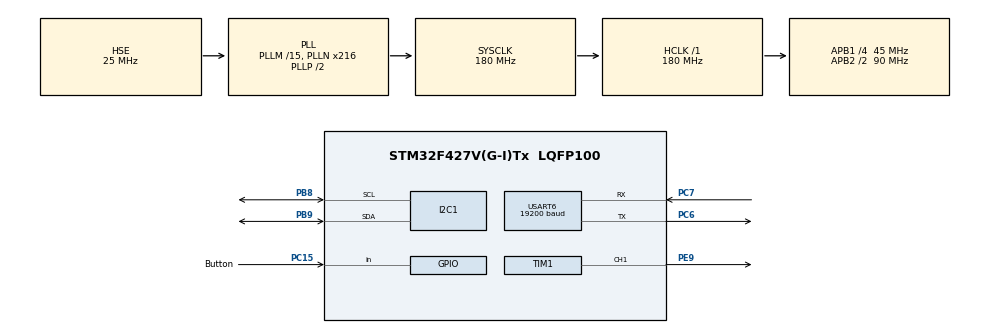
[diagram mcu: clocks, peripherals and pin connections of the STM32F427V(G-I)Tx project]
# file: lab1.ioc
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I2C1.I2C_Mode=I2C_Standard
Mcu.Family=STM32F4
Mcu.Name=STM32F427V(G-I)Tx
Mcu.Package=LQFP100
NVIC.PriorityGroup=NVIC_PRIORITYGROUP_4
NVIC.USART6_IRQn=true\:0\:0\:false\:false\:true\:true\:true\:true
PA13.Mode=JTAG_5_pins
PA13.Signal=SYS_JTMS-SWDIO
PA14.Mode=JTAG_5_pins
PA14.Signal=SYS_JTCK-SWCLK
PA15.Mode=JTAG_5_pins
PA15.Signal=SYS_JTDI
PB3.Mode=JTAG_5_pins
PB3.Signal=SYS_JTDO-SWO
PB4.Mode=JTAG_5_pins
PB4.Signal=SYS_JTRST
PB8.GPIO_Pu=GPIO_PULLUP
PB8.Mode=I2C
PB8.Signal=I2C1_SCL
PB9.GPIO_Pu=GPIO_PULLUP
PB9.Mode=I2C
PB9.Signal=I2C1_SDA
PC15/OSC32_OUT.GPIO_Label=Button
PC15/OSC32_OUT.Signal=GPIO_Input
PC6.Mode=Asynchronous
PC6.Signal=USART6_TX
PC7.Mode=Asynchronous
PC7.Signal=USART6_RX
PE9.Signal=S_TIM1_CH1
PH0/OSC_IN.Mode=HSE-External-Oscillator
PH0/OSC_IN.Signal=RCC_OSC_IN
PH1/OSC_OUT.Mode=HSE-External-Oscillator
PH1/OSC_OUT.Signal=RCC_OSC_OUT
ProjectManager.HeapSize=0x200
ProjectManager.StackSize=0x400
ProjectManager.TargetToolchain=STM32CubeIDE
RCC.48MHZClocksFreq_Value=90000000
RCC.AHBFreq_Value=180000000
RCC.APB1CLKDivider=RCC_HCLK_DIV4
RCC.APB1Freq_Value=45000000
RCC.APB1TimFreq_Value=90000000
RCC.APB2CLKDivider=RCC_HCLK_DIV2
RCC.APB2Freq_Value=90000000
RCC.APB2TimFreq_Value=180000000
RCC.CortexFreq_Value=180000000
RCC.HCLKFreq_Value=180000000
RCC.HSE_VALUE=25000000
RCC.HSI_VALUE=16000000
RCC.LSE_VALUE=32768
RCC.PLLM=15
RCC.PLLN=216
RCC.PLLSourceVirtual=RCC_PLLSOURCE_HSE
RCC.SYSCLKFreq_VALUE=180000000
RCC.SYSCLKSource=RCC_SYSCLKSOURCE_PLLCLK
RCC.VCOOutputFreq_Value=360000000
SH.S_TIM1_CH1.0=TIM1_CH1,PWM Generation1 CH1
TIM1.AutoReloadPreload=TIM_AUTORELOAD_PRELOAD_ENABLE
TIM1.Channel-PWM\ Generation1\ CH1=TIM_CHANNEL_1
TIM1.Period=999
TIM1.Prescaler=89
TIM1.Pulse-PWM\ Generation1\ CH1=500
USART6.BaudRate=19200
USART6.VirtualMode=VM_ASYNC
VP_TIM1_VS_ClockSourceINT.Mode=Internal
board=custom

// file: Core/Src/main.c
/* USER CODE BEGIN Header */
/**
 ******************************************************************************
 * @file           : main.c
 * @brief          : Main program body
 ******************************************************************************
 * @attention
 *
 * Copyright (c) 2025 STMicroelectronics.
 * All rights reserved.
 *
 * This software is licensed under terms that can be found in the LICENSE file
 * in the root directory of this software component.
 * If no LICENSE file comes with this software, it is provided AS-IS.
 *
 ******************************************************************************
 */
/* USER CODE END Header */
#include "main.h"
#include "i2c.h"
#include "tim.h"
#include "usart.h"
#include "gpio.h"

/* USER CODE BEGIN Includes */
#include "ctype.h"
#include "stdbool.h"
#include "stdint.h"
#include "stdio.h"
#include "string.h"
#include "Custom/Drivers/led_driver.h"
#include "Custom/Drivers/button_driver.h"
#include "Custom/Drivers/uart_driver.h"
#include "Custom/Drivers/sound_driver.h"
#include "Custom/Drivers/melody_driver.h"
#include "Custom/Drivers/melody_parser.h"
#include "Custom/Drivers/keyboard_driver.h"
#include "Custom/Drivers/mode_switcher.h"
/* USER CODE END Includes */

/* USER CODE BEGIN PTD */
typedef struct {
  bool edit_mode;
  char input_buffer[128];
  uint8_t input_index;
} app_state_t;
/* USER CODE END PTD */

/* USER CODE BEGIN PV */
static app_state_t app_state = {0};
/* USER CODE END PV */

void SystemClock_Config(void);
/* USER CODE BEGIN PFP */
static void process_key(uint8_t key_code);
static void send_status_message(void);
static void enter_edit_mode(void);
static void process_input_buffer(void);
static void play_melody(uint8_t melody_index);
/* USER CODE END PFP */

int main(void) {

  /* MCU Configuration--------------------------------------------------------*/

  /* Reset of all peripherals, Initializes the Flash interface and the Systick.
   */
  HAL_Init();

  /* Configure the system clock */
  SystemClock_Config();

  /* Initialize all configured peripherals */
  MX_GPIO_Init();
  MX_USART6_UART_Init();
  MX_TIM1_Init();
  MX_I2C1_Init();
  /* USER CODE BEGIN 2 */
  button_driver_init();
  uart_driver_init(UART_POLLING);
  uart_send_string("\r\n\r\n\
▓█████▄  ███▄    █  ▄▄▄▄   \r\n\
▒██▀ ██▌ ██ ▀█   █ ▓█████▄ \r\n\
░██   █▌▓██  ▀█ ██▒▒██▒ ▄██\r\n\
░▓█▄   ▌▓██▒  ▐▌██▒▒██░█▀  \r\n\
░▒████▓ ▒██░   ▓██░░▓█  ▀█▓\r\n\
 ▒▒▓  ▒ ░ ▒░   ▒ ▒ ░▒▓███▀▒\r\n\
 ░ ▒  ▒ ░ ░░   ░ ▒░▒░▒   ░ \r\n\
 ░ ░  ░    ░   ░ ░  ░    ░ \r\n\
   ░             ░  ░      \r\n\
 ░                       ░ \r\n\r\n");
  sound_driver_init();
  melody_driver_init();
  keyboard_init();
  mode_switcher_init();

  uart_send_string("\r\nMusical Box with Keyboard Ready\r\n");
  /* USER CODE END 2 */

  /* Infinite loop */
  while (1) {

    /* USER CODE BEGIN 3 */
    keyboard_update();
    mode_switcher_update();
    melody_update();

    if (keyboard_key_pressed()) {
      uint8_t key = keyboard_get_pressed_key();

      if (get_current_mode() == MODE_TEST) {
        // Test mode: just print key codes
        char msg[32];
        snprintf(msg, sizeof(msg), "Key pressed: %d\r\n", key);
        uart_send_string(msg);
      } else {
        // Application mode
        process_key(key);
      }
    }

    if (app_state.edit_mode) {
      uint8_t received_char;
      if (uart_rx_blocking(&received_char)) {
        if (received_char == '\r' || received_char == '\n') {
          app_state.input_buffer[app_state.input_index] = '\0';
          uart_send_string("\r\n");
          process_input_buffer();
          app_state.edit_mode = false;
          send_status_message();
        } else if (received_char == 8 || received_char == 127) {
          if (app_state.input_index > 0) {
            app_state.input_index--;
            for (int i = app_state.input_index;
                 i < strlen(app_state.input_buffer); i++) {
              app_state.input_buffer[i] = app_state.input_buffer[i + 1];
            }
            uart_send_string("\b");
            uart_send_string(&app_state.input_buffer[app_state.input_index]);
            uart_send_string(" ");
            int chars_to_move =
                strlen(&app_state.input_buffer[app_state.input_index]) + 1;
            for (int i = 0; i < chars_to_move; i++) {
              uart_send_string("\b");
            }
          }
        } else if (received_char == 0x1B) {
          if (uart_rx_blocking(&received_char)) {
            if (received_char == '[') {
              if (uart_rx_blocking(&received_char)) {
                switch (received_char) {
                case 'D':
                  if (app_state.input_index > 0) {
                    app_state.input_index--;
                    uart_send_string("\x1B[D");
                  }
                  break;
                case 'C':
                  if (app_state.input_index < strlen(app_state.input_buffer)) {
                    app_state.input_index++;
                    uart_send_string("\x1B[C");
                  }
                  break;
                }
              } else {
                uart_send_string(
                    "\r\nEdit cancelled. Keep previous melody.\r\n");
                app_state.edit_mode = false;
                send_status_message();
              }
            }
          } else {
            uart_send_string("\r\nEdit cancelled. Keep previous melody.\r\n");
            app_state.edit_mode = false;
            send_status_message();
          }
        } else if (app_state.input_index < sizeof(app_state.input_buffer) - 1) {
          app_state.input_buffer[app_state.input_index++] = received_char;
          uart_tx_blocking(received_char);
        }
      }
    }
  }
  /* USER CODE END 3 */
}

void SystemClock_Config(void) {
  RCC_OscInitTypeDef RCC_OscInitStruct = {0};
  RCC_ClkInitTypeDef RCC_ClkInitStruct = {0};

  /** Configure the main internal regulator output voltage
   */
  __HAL_RCC_PWR_CLK_ENABLE();
  __HAL_PWR_VOLTAGESCALING_CONFIG(PWR_REGULATOR_VOLTAGE_SCALE1);

  /** Initializes the RCC Oscillators according to the specified parameters
   * in the RCC_OscInitTypeDef structure.
   */
  RCC_OscInitStruct.OscillatorType = RCC_OSCILLATORTYPE_HSE;
  RCC_OscInitStruct.HSEState = RCC_HSE_ON;
  RCC_OscInitStruct.PLL.PLLState = RCC_PLL_ON;
  RCC_OscInitStruct.PLL.PLLSource = RCC_PLLSOURCE_HSE;
  RCC_OscInitStruct.PLL.PLLM = 15;
  RCC_OscInitStruct.PLL.PLLN = 216;
  RCC_OscInitStruct.PLL.PLLP = RCC_PLLP_DIV2;
  RCC_OscInitStruct.PLL.PLLQ = 4;
  if (HAL_RCC_OscConfig(&RCC_OscInitStruct) != HAL_OK) {
    Error_Handler();
  }

  /** Activate the Over-Drive mode
   */
  if (HAL_PWREx_EnableOverDrive() != HAL_OK) {
    Error_Handler();
  }

  /** Initializes the CPU, AHB and APB buses clocks
   */
  RCC_ClkInitStruct.ClockType = RCC_CLOCKTYPE_HCLK | RCC_CLOCKTYPE_SYSCLK |
                                RCC_CLOCKTYPE_PCLK1 | RCC_CLOCKTYPE_PCLK2;
  RCC_ClkInitStruct.SYSCLKSource = RCC_SYSCLKSOURCE_PLLCLK;
  RCC_ClkInitStruct.AHBCLKDivider = RCC_SYSCLK_DIV1;
  RCC_ClkInitStruct.APB1CLKDivider = RCC_HCLK_DIV4;
  RCC_ClkInitStruct.APB2CLKDivider = RCC_HCLK_DIV2;

  if (HAL_RCC_ClockConfig(&RCC_ClkInitStruct, FLASH_LATENCY_5) != HAL_OK) {
    Error_Handler();
  }
}

/* USER CODE BEGIN 4 */
static void process_key(uint8_t key_code) {
  char message[64];

  switch (key_code) {
  case 1:
  case 2:
  case 3:
  case 4:
    play_melody(key_code - 1);
    break;

  case 5:
    // Custom melody
    if (user_melody.note_count > 0) {
      melody_play(&user_melody);
      snprintf(message, sizeof(message), "\r\nPlaying custom melody\r\n");
      uart_send_string(message);
    } else {
      uart_send_string("\r\nNo custom melody defined\r\n");
    }
    break;

  case 6:
    // Enter edit mode
    enter_edit_mode();
    break;

  default:
    break;
  }
}

static void play_melody(uint8_t melody_index) {
  if (melody_index < MAX_STANDARD_MELODIES) {
    melody_play(&standard_melodies[melody_index]);
    char message[64];
    snprintf(message, sizeof(message), "\r\nPlaying melody %d: %s\r\n",
             melody_index + 1, standard_melodies[melody_index].name);
    uart_send_string(message);
  }
}

static void send_status_message(void) {
  char message[128];
  snprintf(message, sizeof(message), "\r\nStatus: Custom notes=%d\r\n",
           user_melody.note_count);
  uart_send_string(message);
}

static void enter_edit_mode(void) {
  uart_send_string("\r\n=== Edit Custom Melody ===\r\n");
  uart_send_string("Format: C4:200;D4:200;N:100;E4:400;\r\n");
  uart_send_string("Notes: C,D,E,F,G,A,B + octave (0-8)\r\n");
  uart_send_string("N = pause, :duration_ms\r\n");
  uart_send_string(
      "Enter melody via UART (end with Enter, exit with Esc):\r\n> ");
  app_state.edit_mode = true;
  app_state.input_index = 0;
}

static void process_input_buffer(void) {
  char message[64];
  if (parse_melody_string(app_state.input_buffer, &user_melody)) {
    snprintf(message, sizeof(message), "Melody parsed: %d notes\r\n",
             user_melody.note_count);
    uart_send_string(message);
  } else {
    uart_send_string("Error: Invalid format\r\n");
    uart_send_string("Example: C4:200;D4:200;N:100;E4:400;\r\n");
  }
}
/* USER CODE END 4 */

void Error_Handler(void) {
  /* USER CODE BEGIN Error_Handler_Debug */
  /* User can add his own implementation to report the HAL error return state
   */
  __disable_irq();
  while (1) {
  }
  /* USER CODE END Error_Handler_Debug */
}
#ifdef USE_FULL_ASSERT
/**
 * @brief  Reports the name of the source file and the source line number
 *         where the assert_param error has occurred.
 * @param  file: pointer to the source file name
 * @param  line: assert_param error line source number
 * @retval None
 */
void assert_failed(uint8_t* file, uint32_t line) {
  /* USER CODE BEGIN 6 */
  /* User can add his own implementation to report the file name and line
     number, ex: printf("Wrong parameters value: file %s on line %d\r\n",
     file, line) */
  /* USER CODE END 6 */
}
#endif /* USE_FULL_ASSERT */
